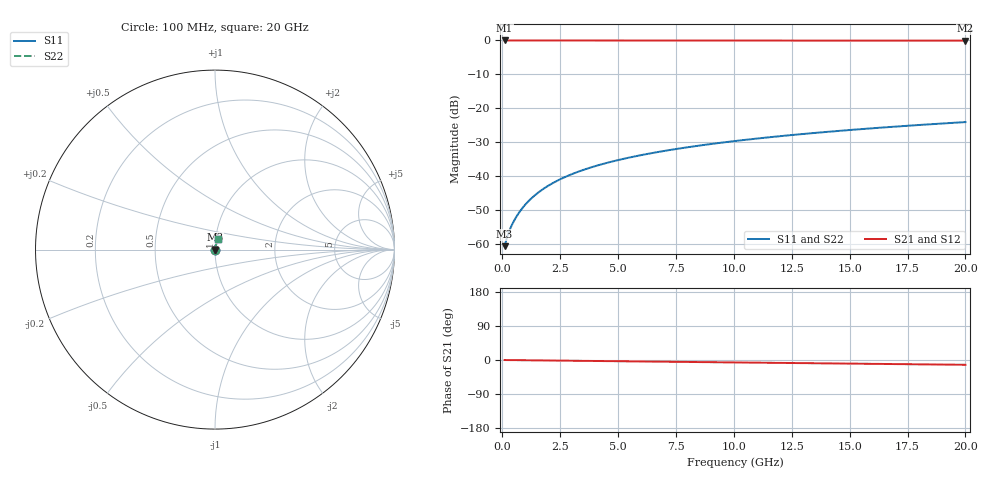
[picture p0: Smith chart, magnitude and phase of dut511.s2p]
! Touchstone file exported from HFSS 2026.1.0
!  File:  C:/ffzhzh/LocalFiles/Ansys_Project_Files/temp_train_TMRDL_511_1783006920_46388.aedt
!  Generated:  11:43:21 PM Jul  2, 2026
!  Design:  TMRDL
!  Project:  temp_train_TMRDL_511_1783006920_46388
! Variables:
!  h_bsmrdl = 2um
!  h_ox = 20um
!  h_rdl = 5um
!  h_sub = 80um
!  h_tmrdl = 4.86um
!  h_tsv = 80um
!  h_via = 3um
!  l_bsmrdl = 300um
!  l_sub = 598.6um
!  l_tmrdl = 198.6um
!  m_sub = 200um
!  pitch = 33.57um
!  r_tsv = 6um
!  s_tmrdl = 10um
!  w_bsmrdl = 18um
!  w_sub = 500um
!  w_tmrdl = 23.23um
!  x_tsv_center1 = 210.215um
!  x_tsv_center2 = 528.215um
!  x_tsv_center3 = 750.045um
!  x_tsv_center4 = 1068.045um
!  x_tsv_center5 = 1289.875um
!  x_tsv_center6 = 1607.875um
# GHz S MA R 50.000000
! Terminal data exported
! Port[1] = TM_RDL1_1_T1
! Port[2] = TM_RDL1_1_T2
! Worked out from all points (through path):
!   200 points, 100 MHz to 20 GHz, reference 50 ohm
!   highest |S21| = -0.01 dB at 100 MHz (marker M1); lowest = -0.1 dB at 20 GHz (marker M2)
!   group delay of S21, straight-line fit = 1.75 ps
!   lowest |S11| = -60.6 dB at 100 MHz (marker M3), VSWR 1.00, Z = 50.1 + j0.0471 ohm
!   |S11| at or under -10 dB: start of sweep to end of sweep
!   |S22| runs from -60.6 to -24.0 dB; largest |S21 - S12| = 5.3e-15
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0.1  0.0009353 30.2  0.9992 -0.1  0.9992 -0.1  0.0009353 30.2
! Gamma 0 0 0 0
! Port Impedance 50 0 50 0
0.2  0.00125 44.4  0.9991 -0.1  0.9991 -0.1  0.00125 44.4
0.3  0.001565 52.1  0.999 -0.2  0.999 -0.2  0.001565 52.1
0.4  0.001876 57.5  0.999 -0.3  0.999 -0.3  0.001876 57.5
0.5  0.002191 61.5  0.999 -0.3  0.999 -0.3  0.002191 61.5
0.6  0.002512 64.7  0.9989 -0.4  0.9989 -0.4  0.002512 64.7
0.8  0.003173 69.3  0.9989 -0.5  0.9989 -0.5  0.003173 69.3
1  0.003851 72.2  0.9989 -0.7  0.9989 -0.7  0.003851 72.2
1.2  0.004539 74.3  0.9988 -0.8  0.9988 -0.8  0.004539 74.3
1.4  0.005231 75.7  0.9988 -0.9  0.9988 -0.9  0.005231 75.7
1.7  0.006273 77.1  0.9987 -1.1  0.9987 -1.1  0.006273 77.1
2.2  0.008004 78.4  0.9986 -1.4  0.9986 -1.4  0.008004 78.4
2.8  0.01006 79.1  0.9984 -1.8  0.9984 -1.8  0.01006 79.1
3.5  0.01241 79.4  0.9981 -2.3  0.9981 -2.3  0.01241 79.4
4.2  0.01472 79.4  0.9979 -2.7  0.9979 -2.7  0.01472 79.4
5  0.01731 79.2  0.9976 -3.2  0.9976 -3.2  0.01731 79.2
6.8  0.02301 78.7  0.997 -4.4  0.997 -4.4  0.02301 78.7
8.3  0.02767 78.2  0.9965 -5.3  0.9965 -5.3  0.02767 78.2
10.1  0.0332 77.5  0.996 -6.5  0.996 -6.5  0.0332 77.5
13.4  0.0432 76.1  0.995 -8.5  0.995 -8.5  0.0432 76.1
16.7  0.05306 74.5  0.994 -10.6  0.994 -10.6  0.05306 74.5
20  0.06278 72.8  0.993 -12.7  0.993 -12.7  0.06278 72.8
